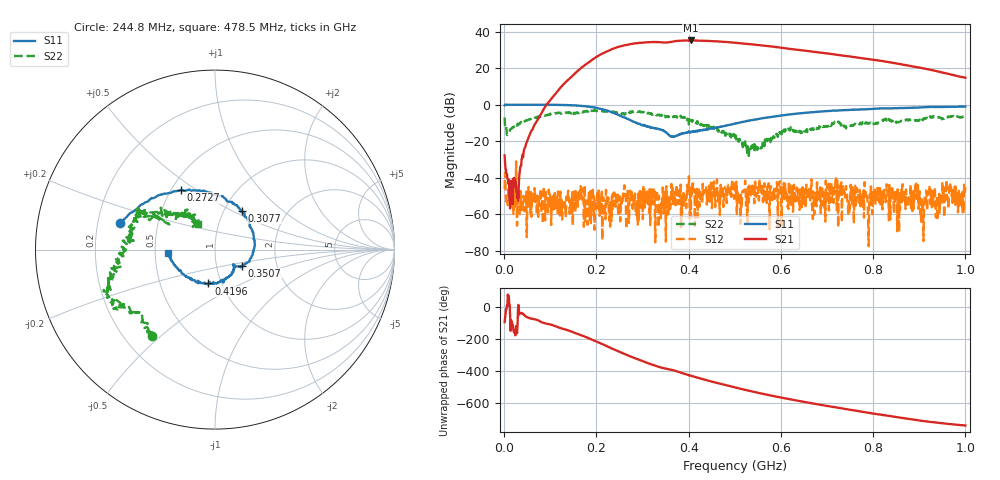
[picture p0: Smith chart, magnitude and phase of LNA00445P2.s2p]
! Created with skrf 1.9.0 (http://scikit-rf.org).
# Hz S RI R 50.0
!freq ReS11 ImS11 ReS21 ImS21 ReS12 ImS12 ReS22 ImS22
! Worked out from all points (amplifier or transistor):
!   1001 points, 1 MHz to 1 GHz, reference 50 ohm
!   highest |S21| = 35.2 dB at 404.6 MHz (marker M1)
!   |S21| within 3 dB of that: 255.7 MHz to 568.7 MHz (312.9 MHz wide, 75.9 % of centre)
!   unconditionally stable (mu >= 1): 37.64 MHz to 52.63 MHz; 211.8 MHz to 301.7 MHz; 301.7 MHz to end of sweep (the widest 3 of 41)
!   at 166.8 MHz: K = 1.86, MAG = 29.9 dB, |S12| = -50.5 dB
!   at 500.5 MHz: K = 2.64, MAG = 34.5 dB, |S12| = -49.1 dB
!   at 1 GHz: K = 2.01, MAG = 24.2 dB, |S12| = -45.1 dB
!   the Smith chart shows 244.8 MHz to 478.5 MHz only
!   S11 on the Smith chart (normalised r, x): 244.8 MHz: 0.30, +0.12; 272.7 MHz: 0.56, +0.43; 307.7 MHz: 1.21, +0.56; 350.6 MHz: 1.33, -0.24; 419.6 MHz: 0.87, -0.34; 478.5 MHz: 0.58, -0.02
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1000000  0.9673 -0.00096  -0.00383 -0.041  0.00392 -0.00312  0.3639 0.2679
1.08892e8  0.5333 -0.8393  -0.865 -1.607  -0.000648 -0.00123  0.4201 -0.3911
1.67833e8  -0.2118 -0.9068  -10.4 -0.4419  0.000744 0.00331  0.0302 -0.6348
2.1079e8  -0.6592 -0.3858  -15.82 18.49  -0.000903 -0.000435  -0.2419 -0.6418
2.44756e8  -0.5274 0.1462  2.12 37.28  -0.00179 -0.00118  -0.3486 -0.4816
2.72728e8  -0.1904 0.3319  27.52 36.22  0.00281 0.00336  -0.5664 -0.3294
3.07693e8  0.1505 0.2172  49.54 12.27  -0.00153 0.0024  -0.559 -0.1495
3.34666e8  0.2154 0.000135  50.29 -11.53  0.000106 -0.000432  -0.5316 -0.0234
3.5065e8  0.1494 -0.0894  45.75 -21.2  9.28e-05 0.000154  -0.4795 0.0805
3.75625e8  0.1044 -0.097  40.78 -37.89  0.00186 0.000324  -0.4219 0.2069
4.04596e8  0.0337 -0.1722  20.78 -53.45  -0.00052 0.000663  -0.3295 0.1844
4.19581e8  -0.0367 -0.1883  8.885 -56.2  0.000285 0.000763  -0.2603 0.1969
4.45555e8  -0.1598 -0.1506  -10.95 -54.08  0.000878 0.00204  -0.1537 0.1775
4.78522e8  -0.2633 -0.0165  -30.99 -42.11  0.00515 0.0021  -0.0933 0.1428
5.005e8  -0.2847 0.097  -39.22 -30.88  -0.00347 -0.00053  -0.1048 0.1198
5.4046e8  -0.2292 0.3083  -43.36 -9.083  0.00634 -0.00261  -0.0539 0.0227
5.85415e8  -0.0611 0.4749  -36.94 10.55  0.00409 -0.00288  -0.1091 -0.0576
6.67333e8  0.3245 0.5304  -14.01 24.62  -0.00151 -0.000865  -0.2201 -0.0525
7.53247e8  0.6251 0.3683  4.178 20.08  -0.00505 -0.00039  -0.2691 -0.00542
8.34166e8  0.7839 0.1404  10.9 9.704  0.00054 0.000346  -0.3814 -0.0116
9.09091e8  0.845 -0.1129  9.693 1.598  0.000186 1.97e-05  -0.374 0.1311
1e9  0.811 -0.3835  5.211 -1.669  -0.00407 0.00375  -0.3776 0.3175
